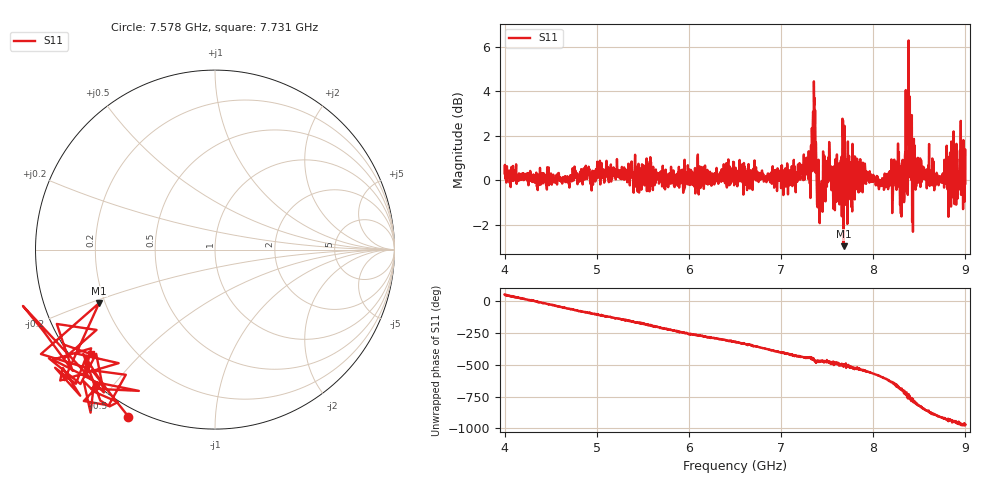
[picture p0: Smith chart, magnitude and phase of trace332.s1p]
! Created with skrf 1.8.0 (http://scikit-rf.org).
# Hz S RI R 50.0
!freq ReS11 ImS11
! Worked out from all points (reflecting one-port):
!   1601 points, 4 GHz to 9 GHz, reference 50 ohm
!   lowest |S11| = -3.0 dB at 7.678 GHz (marker M1), VSWR 5.92, Z = 8.84 - j10.7 ohm
!   phase of S11 starts at 55 deg and turns -1026 deg over the sweep
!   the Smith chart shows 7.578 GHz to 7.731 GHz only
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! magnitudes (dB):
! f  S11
! 4 GHz  0.3
! 4.625 GHz  -0.1
! 5.25 GHz  0.1
! 5.875 GHz  0.0
! 6.5 GHz  0.1
! 7.125 GHz  0.2
! 7.294 GHz  0.1
! 7.316 GHz  0.6
! 7.347 GHz  3.1
! 7.369 GHz  3.2
! 7.397 GHz  -1.2
! 7.412 GHz  -0.6
! 7.509 GHz  -0.1
! 7.578 GHz  0.4
! 7.678 GHz  -3.0
! 7.75 GHz  -0.3
! 8.188 GHz  0.4
! 8.253 GHz  -0.4
! 8.312 GHz  0.8
! 8.334 GHz  -1.0
! 8.356 GHz  0.8
! 8.375 GHz  -0.7
! 8.403 GHz  2.2
! 8.447 GHz  1.6
! 8.722 GHz  0.1
! 8.912 GHz  0.1
! 8.959 GHz  1.7
! 9 GHz  -0.1
